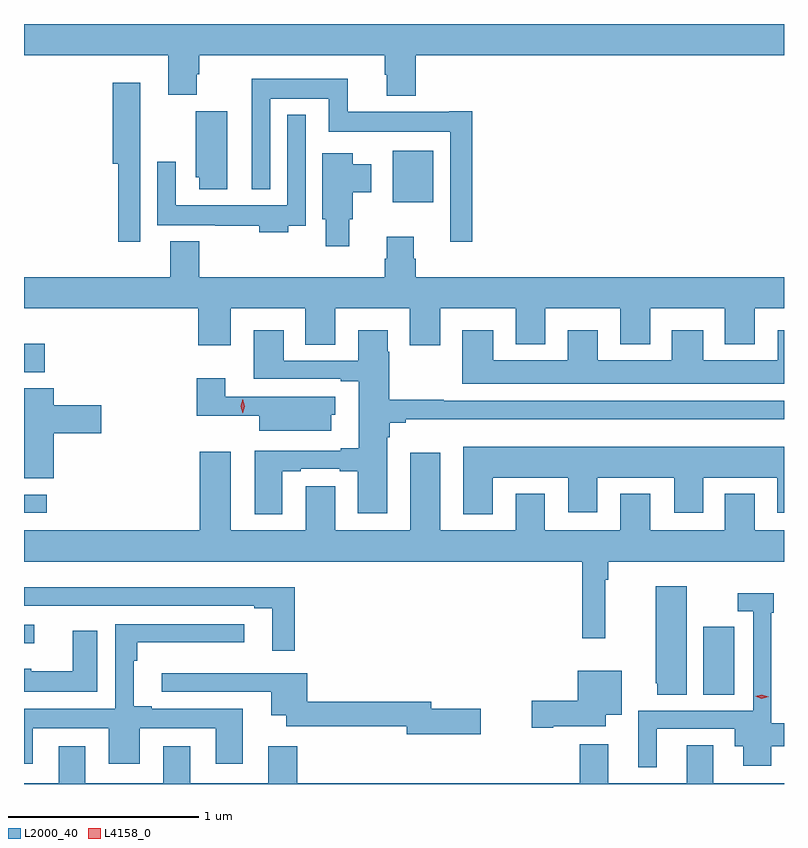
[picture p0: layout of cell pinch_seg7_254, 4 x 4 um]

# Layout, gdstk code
import gdstk
lib = gdstk.Library(unit=1e-6, precision=1e-09)
def R(c, l, rs):  # rectangles x0, y0, x1, y1
    for r in rs: c.add(gdstk.rectangle(r[:2], r[2:], *l))
def P(c, l, *ps):  # polygons
    for p in ps: c.add(gdstk.Polygon(p, *l))
L2000_40 = (2000, 40)
L4158_0 = (4158, 0)

pinch_seg7_254 = lib.new_cell('pinch_seg7_254')
R(pinch_seg7_254, L2000_40, [(807.818,1065.184,807.982,1065.541), (804.243,1065.455,804.298,1065.552), (804.243,1066.14,804.364,1066.236), (804.243,1066.88,804.352,1067.029), (806.183,1067.774,806.398,1068.046)])
P(pinch_seg7_254, L2000_40, [(806.306,1068.548),(808.243,1068.548),(808.243,1068.712),(806.935,1068.712),(806.935,1068.713),(806.795,1068.713),(806.795,1068.712),(804.243,1068.712),(804.243,1068.548),(805.001,1068.548),(805.001,1068.34),(805.153,1068.34),(805.153,1068.449),(805.166,1068.449),(805.166,1068.548),(806.141,1068.548),(806.141,1068.447),(806.153,1068.447),(806.153,1068.335),(806.306,1068.335)],
  [(806.603,1068.253),(806.48,1068.253),(806.48,1068.25),(805.946,1068.25),(805.946,1068.424),(805.442,1068.424),(805.442,1067.843),(805.539,1067.843),(805.539,1068.32),(805.848,1068.32),(805.848,1068.146),(806.487,1068.146),(806.487,1067.568),(806.603,1067.568)],
  [(804.855,1068.082),(804.856,1068.082),(804.856,1068.403),(804.71,1068.403),(804.71,1067.978),(804.739,1067.978),(804.739,1067.568),(804.855,1067.568)],
  [(805.312,1068.255),(805.148,1068.255),(805.148,1067.907),(805.166,1067.907),(805.166,1067.844),(805.312,1067.844)],
  [(805.633,1067.652),(805.725,1067.652),(805.725,1068.235),(805.629,1068.235),(805.629,1067.758),(805.041,1067.758),(805.041,1067.989),(804.945,1067.989),(804.945,1067.654),(805.249,1067.654),(805.249,1067.652),(805.481,1067.652),(805.481,1067.618),(805.633,1067.618)],
  [(805.954,1067.685),(805.972,1067.685),(805.972,1067.827),(806.071,1067.827),(806.071,1067.974),(805.972,1067.974),(805.972,1068.034),(805.814,1068.034),(805.814,1067.685),(805.832,1067.685),(805.832,1067.544),(805.954,1067.544)],
  [(805.33,1067.216),(805.724,1067.216),(805.724,1067.026),(805.882,1067.026),(805.882,1067.216),(806.273,1067.216),(806.273,1067.022),(806.434,1067.022),(806.434,1067.216),(806.831,1067.216),(806.831,1067.027),(806.986,1067.027),(806.986,1067.216),(807.38,1067.216),(807.38,1067.027),(807.538,1067.027),(807.538,1067.216),(807.932,1067.216),(807.932,1067.027),(808.09,1067.027),(808.09,1067.216),(808.243,1067.216),(808.243,1067.38),(806.306,1067.38),(806.306,1067.478),(806.293,1067.478),(806.293,1067.593),(806.153,1067.593),(806.153,1067.478),(806.141,1067.478),(806.141,1067.38),(805.166,1067.38),(805.166,1067.569),(805.013,1067.569),(805.013,1067.38),(804.243,1067.38),(804.243,1067.216),(805.16,1067.216),(805.16,1067.022),(805.33,1067.022)],
  [(805.603,1066.359),(805.699,1066.359),(805.699,1066.371),(805.904,1066.371),(805.904,1066.359),(806,1066.359),(806,1066.137),(806.155,1066.137),(806.155,1066.538),(806.168,1066.538),(806.168,1066.615),(806.251,1066.615),(806.251,1066.634),(808.243,1066.634),(808.243,1066.731),(806.453,1066.731),(806.453,1066.736),(806.166,1066.736),(806.166,1066.988),(806.158,1066.988),(806.158,1067.101),(806.003,1067.101),(806.003,1066.941),(805.609,1066.941),(805.609,1067.101),(805.451,1067.101),(805.451,1066.845),(805.91,1066.845),(805.91,1066.833),(806.006,1066.833),(806.006,1066.48),(805.91,1066.48),(805.91,1066.467),(805.457,1066.467),(805.457,1066.134),(805.603,1066.134)],
  [(808.243,1067.101),(808.211,1067.101),(808.211,1066.942),(807.817,1066.942),(807.817,1067.101),(807.653,1067.101),(807.653,1066.942),(807.262,1066.942),(807.262,1067.101),(807.104,1067.101),(807.104,1066.942),(806.713,1066.942),(806.713,1067.101),(806.549,1067.101),(806.549,1066.82),(808.243,1066.82)],
  [(805.861,1066.656),(805.882,1066.656),(805.882,1066.75),(805.303,1066.75),(805.303,1066.849),(805.151,1066.849),(805.151,1066.652),(805.481,1066.652),(805.481,1066.571),(805.861,1066.571)],
  [(804.4,1066.559),(804.649,1066.559),(804.649,1066.706),(804.4,1066.706),(804.4,1066.795),(804.243,1066.795),(804.243,1066.321),(804.4,1066.321)],
  [(806.71,1066.325),(807.107,1066.325),(807.107,1066.143),(807.259,1066.143),(807.259,1066.325),(807.665,1066.325),(807.665,1066.14),(807.817,1066.14),(807.817,1066.325),(808.208,1066.325),(808.208,1066.14),(808.243,1066.14),(808.243,1066.489),(806.555,1066.489),(806.555,1066.133),(806.71,1066.133)],
  [(807.302,1065.788),(807.317,1065.788),(807.317,1065.884),(808.243,1065.884),(808.243,1066.048),(808.09,1066.048),(808.09,1066.24),(807.932,1066.24),(807.932,1066.048),(807.538,1066.048),(807.538,1066.24),(807.38,1066.24),(807.38,1066.048),(806.983,1066.048),(806.983,1066.24),(806.831,1066.24),(806.831,1066.048),(806.434,1066.048),(806.434,1066.456),(806.276,1066.456),(806.276,1066.048),(805.882,1066.048),(805.882,1066.279),(805.727,1066.279),(805.727,1066.048),(805.33,1066.048),(805.33,1066.462),(805.169,1066.462),(805.169,1066.048),(804.243,1066.048),(804.243,1065.884),(807.181,1065.884),(807.181,1065.48),(807.302,1065.48)],
  [(807.73,1065.754),(807.569,1065.754),(807.569,1065.243),(807.575,1065.243),(807.575,1065.184),(807.73,1065.184)],
  [(805.667,1065.748),(804.243,1065.748),(804.243,1065.651),(804.385,1065.651),(804.385,1065.65),(804.624,1065.65),(804.624,1065.651),(805.454,1065.651),(805.454,1065.639),(805.55,1065.639),(805.55,1065.414),(805.667,1065.414)],
  [(807.574,1065.003),(807.983,1065.003),(807.983,1064.912),(808.028,1064.912),(808.028,1064.81),(808.177,1064.81),(808.177,1064.912),(808.243,1064.912),(808.243,1065.034),(808.176,1065.034),(808.176,1065.614),(808.189,1065.614),(808.189,1065.718),(807.999,1065.718),(807.999,1065.621),(808.08,1065.621),(808.08,1065.099),(807.476,1065.099),(807.476,1064.802),(807.574,1064.802)],
  [(804.289,1065.007),(804.689,1065.007),(804.689,1064.82),(804.853,1064.82),(804.853,1065.007),(805.253,1065.007),(805.253,1064.82),(805.393,1064.82),(805.393,1065.108),(804.916,1065.108),(804.916,1065.121),(804.82,1065.121),(804.82,1065.362),(804.839,1065.362),(804.839,1065.458),(805.402,1065.458),(805.402,1065.555),(804.723,1065.555),(804.723,1065.108),(804.243,1065.108),(804.243,1064.82),(804.289,1064.82)],
  [(804.628,1065.52),(804.5,1065.52),(804.5,1065.307),(804.282,1065.307),(804.282,1065.319),(804.243,1065.319),(804.243,1065.198),(804.628,1065.198)],
  [(807.028,1065.017),(807.304,1065.017),(807.304,1065.077),(807.388,1065.077),(807.388,1065.31),(807.158,1065.31),(807.158,1065.152),(806.916,1065.152),(806.916,1065.01),(807.028,1065.01)],
  [(806.647,1065.11),(806.386,1065.11),(806.386,1065.146),(805.735,1065.146),(805.735,1065.295),(804.969,1065.295),(804.969,1065.198),(805.544,1065.198),(805.544,1065.074),(805.622,1065.074),(805.622,1065.018),(806.258,1065.018),(806.258,1064.975),(806.647,1064.975)],
  [(808.243,1064.716),(807.871,1064.716),(807.871,1064.918),(807.731,1064.918),(807.731,1064.716),(807.319,1064.716),(807.319,1064.923),(807.167,1064.923),(807.167,1064.716),(805.682,1064.716),(805.682,1064.911),(805.529,1064.911),(805.529,1064.716),(805.117,1064.716),(805.117,1064.911),(804.977,1064.911),(804.977,1064.716),(804.565,1064.716),(804.565,1064.911),(804.425,1064.911),(804.425,1064.716),(804.243,1064.716),(804.243,1064.713),(808.243,1064.713)])
P(pinch_seg7_254, L4158_0, [(808.126,1065.163),(808.092,1065.174),(808.091,1065.174),(808.092,1065.174),(808.127,1065.182),(808.162,1065.171),(808.162,1065.171),(808.162,1065.171)],
  [(805.394,1066.665),(805.394,1066.665),(805.384,1066.701),(805.394,1066.737),(805.394,1066.737),(805.395,1066.737),(805.404,1066.701),(805.395,1066.665)])

lib.write_gds('pinch_seg7_254.gds')
